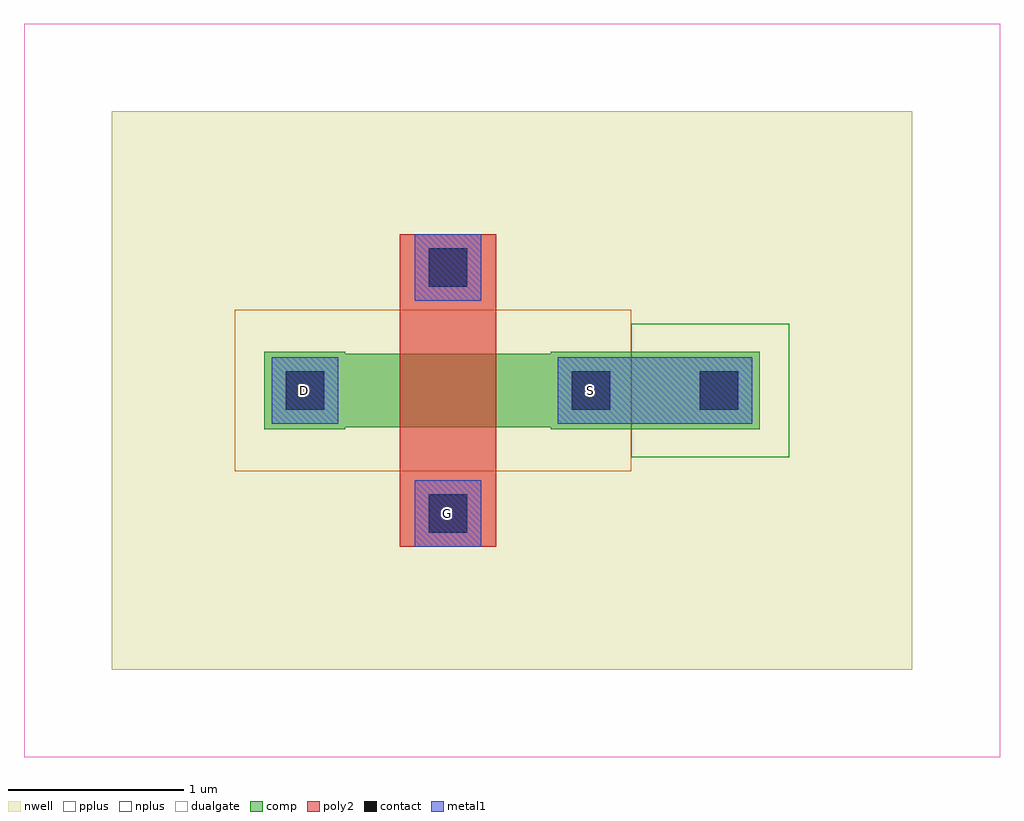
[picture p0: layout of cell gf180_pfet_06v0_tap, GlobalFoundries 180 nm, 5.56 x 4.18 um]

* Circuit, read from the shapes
.subckt gf180_pfet_06v0_tap D G S
XM1 S G D S pfet_06v0 w=0.42u l=0.55u
.ends

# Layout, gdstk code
import gdstk
lib = gdstk.Library(unit=1e-6, precision=1e-09)
def R(c, l, rs):  # rectangles x0, y0, x1, y1
    for r in rs: c.add(gdstk.rectangle(r[:2], r[2:], *l))
def P(c, l, *ps):  # polygons
    for p in ps: c.add(gdstk.Polygon(p, *l))
nwell = (21, 0)
comp = (22, 0)
poly2 = (30, 0)
pplus = (31, 0)
nplus = (32, 0)
contact = (33, 0)
metal1 = (34, 0)
dualgate = (55, 0)

pfet = lib.new_cell('pfet')
R(pfet, nwell, [(-1.33,-1.38,3.23,1.8)])
P(pfet, comp, [(-0.46,-0.01),(-0.46,0.43),(0,0.43),(0,0.42),(1.17,0.42),(1.17,0.43),(2.36,0.43),(2.36,-0.01),(1.17,-0.01),(1.17,0),(0,0),(0,-0.01)])
R(pfet, poly2, [(0.31,-0.68,0.86,1.1)])
R(pfet, pplus, [(-0.63,-0.25,1.63,0.67)])
R(pfet, nplus, [(1.63,-0.17,2.53,0.59)])
R(pfet, contact, [(0.475,-0.6,0.695,-0.38), (-0.34,0.1,-0.12,0.32), (1.29,0.1,1.51,0.32), (2.02,0.1,2.24,0.32), (0.475,0.8,0.695,1.02)])
R(pfet, metal1, [(0.395,-0.68,0.775,-0.3), (-0.42,0.02,-0.04,0.4), (1.21,0.02,1.59,0.4), (1.94,0.02,2.32,0.4), (0.395,0.72,0.775,1.1)])
R(pfet, dualgate, [(-1.83,-1.88,3.73,2.3)])

gf180_pfet_06v0_tap = lib.new_cell('gf180_pfet_06v0_tap')
R(gf180_pfet_06v0_tap, metal1, [(1.59,0.02,1.94,0.4)])
gf180_pfet_06v0_tap.add(gdstk.Reference(pfet, (0,0)))
gf180_pfet_06v0_tap.add(gdstk.Label('D', (-0.23,0.21), layer=34, texttype=10))
gf180_pfet_06v0_tap.add(gdstk.Label('S', (1.4,0.21), layer=34, texttype=10))
gf180_pfet_06v0_tap.add(gdstk.Label('G', (0.585,-0.49), layer=34, texttype=10))

lib.write_gds('gf180_pfet_06v0_tap.gds')
